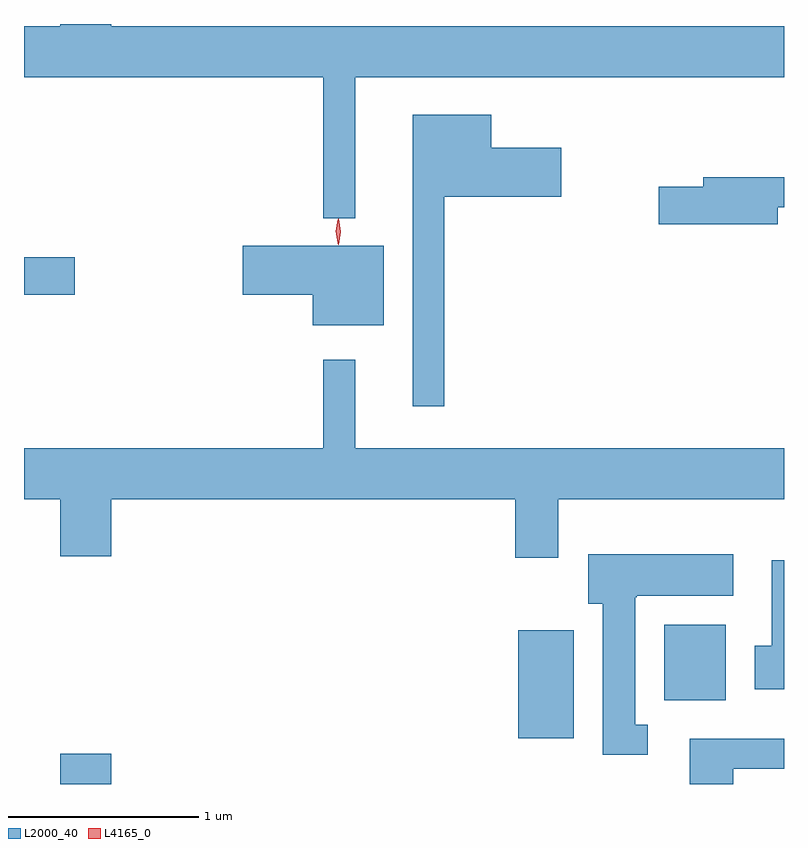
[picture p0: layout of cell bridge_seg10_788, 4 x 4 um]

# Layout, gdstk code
import gdstk
lib = gdstk.Library(unit=1e-6, precision=1e-09)
def R(c, l, rs):  # rectangles x0, y0, x1, y1
    for r in rs: c.add(gdstk.rectangle(r[:2], r[2:], *l))
def P(c, l, *ps):  # polygons
    for p in ps: c.add(gdstk.Polygon(p, *l))
L2000_40 = (2000, 40)
L4165_0 = (4165, 0)

bridge_seg10_788 = lib.new_cell('bridge_seg10_788')
R(bridge_seg10_788, L2000_40, [(354.936,2096.876,355.204,2097.034), (357.346,2097.116,357.639,2097.684), (358.116,2097.316,358.439,2097.714), (354.746,2099.451,355.014,2099.649)])
P(bridge_seg10_788, L2000_40, [(356.489,2100.596),(358.746,2100.596),(358.746,2100.864),(355.204,2100.864),(355.204,2100.876),(354.936,2100.876),(354.936,2100.864),(354.746,2100.864),(354.746,2100.596),(356.321,2100.596),(356.321,2099.853),(356.489,2099.853)],
  [(356.959,2099.966),(357.574,2099.966),(357.574,2100.224),(357.204,2100.224),(357.204,2100.399),(356.791,2100.399),(356.791,2098.863),(356.959,2098.863)],
  [(358.714,2099.911),(358.746,2099.911),(358.746,2100.069),(358.321,2100.069),(358.321,2100.019),(358.086,2100.019),(358.086,2099.821),(358.714,2099.821)],
  [(356.639,2099.709),(355.896,2099.709),(355.896,2099.451),(356.266,2099.451),(356.266,2099.291),(356.639,2099.291)],
  [(357.559,2098.376),(358.746,2098.376),(358.746,2098.644),(356.489,2098.644),(356.489,2099.108),(356.321,2099.108),(356.321,2098.644),(354.746,2098.644),(354.746,2098.376),(354.936,2098.376),(354.936,2098.076),(355.204,2098.076),(355.204,2098.376),(357.331,2098.376),(357.331,2098.066),(357.559,2098.066)],
  [(358.028,2097.189),(357.964,2097.189),(357.964,2097.86),(357.97,2097.86),(357.97,2097.866),(358.479,2097.866),(358.479,2098.084),(357.716,2098.084),(357.716,2097.826),(357.791,2097.826),(357.791,2097.031),(358.028,2097.031)],
  [(358.746,2098.054),(358.681,2098.054),(358.681,2097.604),(358.591,2097.604),(358.591,2097.376),(358.746,2097.376)],
  [(358.479,2096.956),(358.746,2096.956),(358.746,2097.114),(358.251,2097.114),(358.251,2096.876),(358.479,2096.876)])
P(bridge_seg10_788, L4165_0, [(356.401,2099.714),(356.392,2099.782),(356.401,2099.85),(356.402,2099.85),(356.402,2099.85),(356.412,2099.782),(356.402,2099.714),(356.402,2099.714)],
  [(356.396,2099.72),(356.396,2099.721),(356.387,2099.784),(356.398,2099.846),(356.398,2099.847),(356.399,2099.846),(356.407,2099.783),(356.397,2099.721)])

lib.write_gds('bridge_seg10_788.gds')
